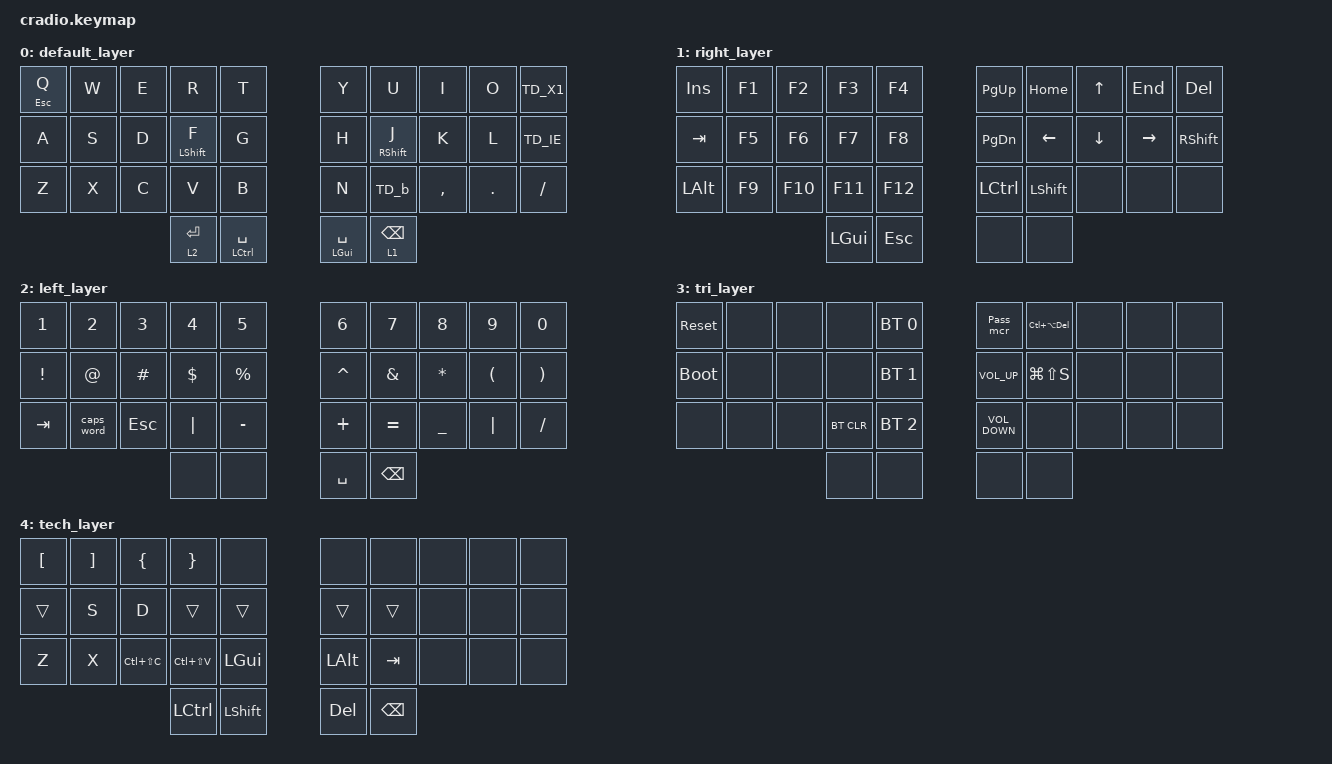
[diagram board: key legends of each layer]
// Copyright (c) 2022 The ZMK Contributors
// SPDX-License-Identifier: MIT

#include <behaviors.dtsi>
#include <dt-bindings/zmk/bt.h>
#include <dt-bindings/zmk/keys.h>

#define default 0
#define left    1
#define right   2
#define tri     3
#define tech    4

// Home row mods macro
//#define HRML(k1,k2,k3,k4) &ht LSHFT k1  &ht LALT k2  &ht LCTRL k3  &ht LGUI k4
//#define HRMR(k1,k2,k3,k4) &ht RGUI k1  &ht RCTRL k2  &ht RALT k3  &ht RSHFT k4

/ {
    //  behaviors {
    //      ht: hold_tap { 
    //          label = "hold_tap";
    //          compatible = "zmk,behavior-hold-tap";
    //          #binding-cells = <2>;
    //          flavor = "tap-preferred";
    //          tapping-term-ms = <220>;
    //          quick-tap-ms = <150>;
    //          require-prior-idle-ms = <100>;
    //          bindings = <&kp>, <&kp>;
    //      };
    //  };
    //    };

    combos {
        compatible = "zmk,combos";

        layer_3 {
            bindings = <&mo 3>;
            key-positions = <30 31>;
        };

        lvl_4 {
            bindings = <&mo 4>;
            key-positions = <17 18>;
        };

        lang_swap {
            bindings = <&kp LG(SPACE)>;
            key-positions = <22 23>;
        };

 alt_enter {
            bindings = <&kp LA(ENTER)>;
            key-positions = <21 22 23>;
        };
comb_ctr_z {
            bindings = <&kp LC(Z)>;
            key-positions = <22 23 24>;
        };
    };
 comb_pass {
            bindings = <&kp LS(P) &kp LS(O) &kp LS(L) &kp J &kp I &kp N9 &kp N8 &kp AMPS &kp U &kp K>;
            key-positions = <01 02 03>;
        };
    behaviors {
        TD_b: TD_b {
            compatible = "zmk,behavior-tap-dance";
            label = "TD_B";
            #binding-cells = <0>;
            bindings = <&kp M>, <&kp RBKT>;
        };

       // morf_1: morf_1 {
        //    compatible = "zmk,behavior-mod-morph";
        //    label = "MORF_1";
         //   bindings = <&kp SPACE>, <&kp ESC>;

         //   #binding-cells = <0>;
         //   mods = <(MOD_RSFT)>;
       // };

      //  morf_2: morf_2 {
      //      compatible = "zmk,behavior-mod-morph";
      //      label = "MORF_2";
      //      bindings = <&kp SPACE>, <&kp LEFT_GUI>;

       //     #binding-cells = <0>;
       //     mods = <(MOD_LSFT|MOD_RSFT)>;
      //  };

        TD_X: TD_X {
            compatible = "zmk,behavior-tap-dance";
            label = "TD_X";
            #binding-cells = <0>;
            bindings = <&kp O>, <&kp P>, <&kp LEFT_BRACKET>;
        };

        TD_IE: TD_IE {
            compatible = "zmk,behavior-tap-dance";
            label = "TD_IE";
            #binding-cells = <0>;
            bindings = <&kp SEMI>, <&kp SQT>;
        };

       // TD_A: TD_A {
        //    compatible = "zmk,behavior-tap-dance";
        //    label = "TD_A";
       //     #binding-cells = <0>;
        //    bindings = <&kp A>, <&none>, <&kp LC(A)>;
       // };

       // TD_S: TD_S {
       //     compatible = "zmk,behavior-tap-dance";
       //     label = "TD_S";
       //     #binding-cells = <0>;
       //     bindings = <&kp S>, <&none>, <&kp LS(LEFT_ALT)>;
       // };

       // TD_V: TD_V {
       //     compatible = "zmk,behavior-tap-dance";
       //     label = "TD_V";
       //     #binding-cells = <0>;
       //     bindings = <&kp V>, <&none>, <&kp LC(V)>;
       // };

        TD_X1: TD_X1 {
            compatible = "zmk,behavior-tap-dance";
            label = "TD_X1";
            #binding-cells = <0>;
            bindings = <&kp P>, <&kp LEFT_BRACKET>;
        };

       // TD_Z: TD_Z {
       //     compatible = "zmk,behavior-tap-dance";
       //     #binding-cells = <0>;
       //     bindings = <&kp Z>, <&none>, <&kp LC(Z)>;
       // };

        TD_QW: TD_QW {
            compatible = "zmk,behavior-tap-dance";
            label = "TD_QW";
            #binding-cells = <0>;
            bindings = <&kp W>, <&kp Q>;
        };

        TD_9: TD_9 {
            compatible = "zmk,behavior-tap-dance";
            label = "TD_9";
            #binding-cells = <0>;
            bindings = <&kp NUMBER_9>, <&kp NUMBER_0>;
        };
    };

    macros {
        Pass_mcr: Pass_mcr {
            compatible = "zmk,behavior-macro";
            #binding-cells = <0>;
            bindings = <&kp LS(P) &kp LS(O) &kp LS(L) &kp J &kp I &kp N9 &kp N8 &kp AMPS &kp U &kp K>;
            label = "PASS_MCR";
        };

        lang_tog: lang_tog {
            compatible = "zmk,behavior-macro";
            #binding-cells = <0>;
            bindings = <&kp LA(LEFT_SHIFT)>;
            label = "LANG_TOG";
        };
    };

    keymap {
        compatible = "zmk,keymap";

        default_layer {
            bindings = <
&mt ESC Q  &kp W        &kp E        &kp R             &kp T              &kp Y               &kp U              &kp I      &kp O    &TD_X1
&kp A      &kp S        &kp D        &mt LEFT_SHIFT F  &kp G              &kp H               &mt RIGHT_SHIFT J  &kp K      &kp L    &TD_IE
&kp Z      &kp X        &kp C        &kp V             &kp B              &kp N               &TD_b              &kp COMMA  &kp DOT  &kp FSLH
                                     &lt 2 ENTER       &mt LCTRL SPACE    &mt LEFT_GUI SPACE  &lt 1 BSPC
            >;
        };

        right_layer {
            bindings = <
&kp INS       &kp F1  &kp F2   &kp F3        &kp F4     &kp PAGE_UP  &kp HOME        &kp UP_ARROW    &kp END          &kp DELETE
&kp TAB       &kp F5  &kp F6   &kp F7        &kp F8     &kp PG_DN    &kp LEFT_ARROW  &kp DOWN_ARROW  &kp RIGHT_ARROW  &kp RIGHT_SHIFT
&kp LEFT_ALT  &kp F9  &kp F10  &kp F11       &kp F12    &kp LCTRL    &kp LEFT_SHIFT  &none          &none           &none
                               &kp LEFT_GUI  &kp ESC    &none       &none
            >;
        };

        left_layer {
            bindings = <
&kp N1    &kp NUMBER_2  &kp NUMBER_3  &kp NUMBER_4  &kp NUMBER_5      &kp NUMBER_6  &kp NUMBER_7   &kp NUMBER_8  &kp NUMBER_9          &kp NUMBER_0
&kp EXCL  &kp AT        &kp HASH      &kp DLLR      &kp PRCNT         &kp CARET     &kp AMPERSAND  &kp ASTERISK  &kp LEFT_PARENTHESIS  &kp RIGHT_PARENTHESIS
&kp TAB   &caps_word    &kp ESCAPE    &kp PIPE      &kp MINUS         &kp PLUS      &kp EQUAL      &kp UNDER     &kp PIPE              &kp FSLH
                                      &none        &none    &kp SPACE     &kp BSPC
            >;
        };

        tri_layer {
            bindings = <
&sys_reset   &none  &none  &none      &bt BT_SEL 0    &Pass_mcr          &kp LC(LA(DELETE))  &none  &none  &none
&bootloader  &none  &none  &none      &bt BT_SEL 1    &kp C_VOL_UP       &kp LG(LS(S))       &none  &none  &none
&none       &none  &none  &bt BT_CLR  &bt BT_SEL 2    &kp C_VOLUME_DOWN  &none    &none  &none  &none
                             &none      &none          &none        &none
            >;
        };

        tech_layer {
            bindings = <
&kp LEFT_BRACKET  &kp RIGHT_BRACKET  &kp LEFT_BRACE  &kp RIGHT_BRACE  &none            &none        &none         &none  &none  &none
&trans            &kp S              &kp D           &trans           &trans            &trans        &trans         &none  &none  &none
&kp Z             &kp X              &kp LC(LS(C))   &kp LC(LS(V))    &kp LGUI          &kp LEFT_ALT  &kp TAB        &none  &none  &none
                                                     &kp LCTRL        &kp LEFT_SHIFT    &kp DELETE    &kp BACKSPACE
            >;
        };
    };
};
